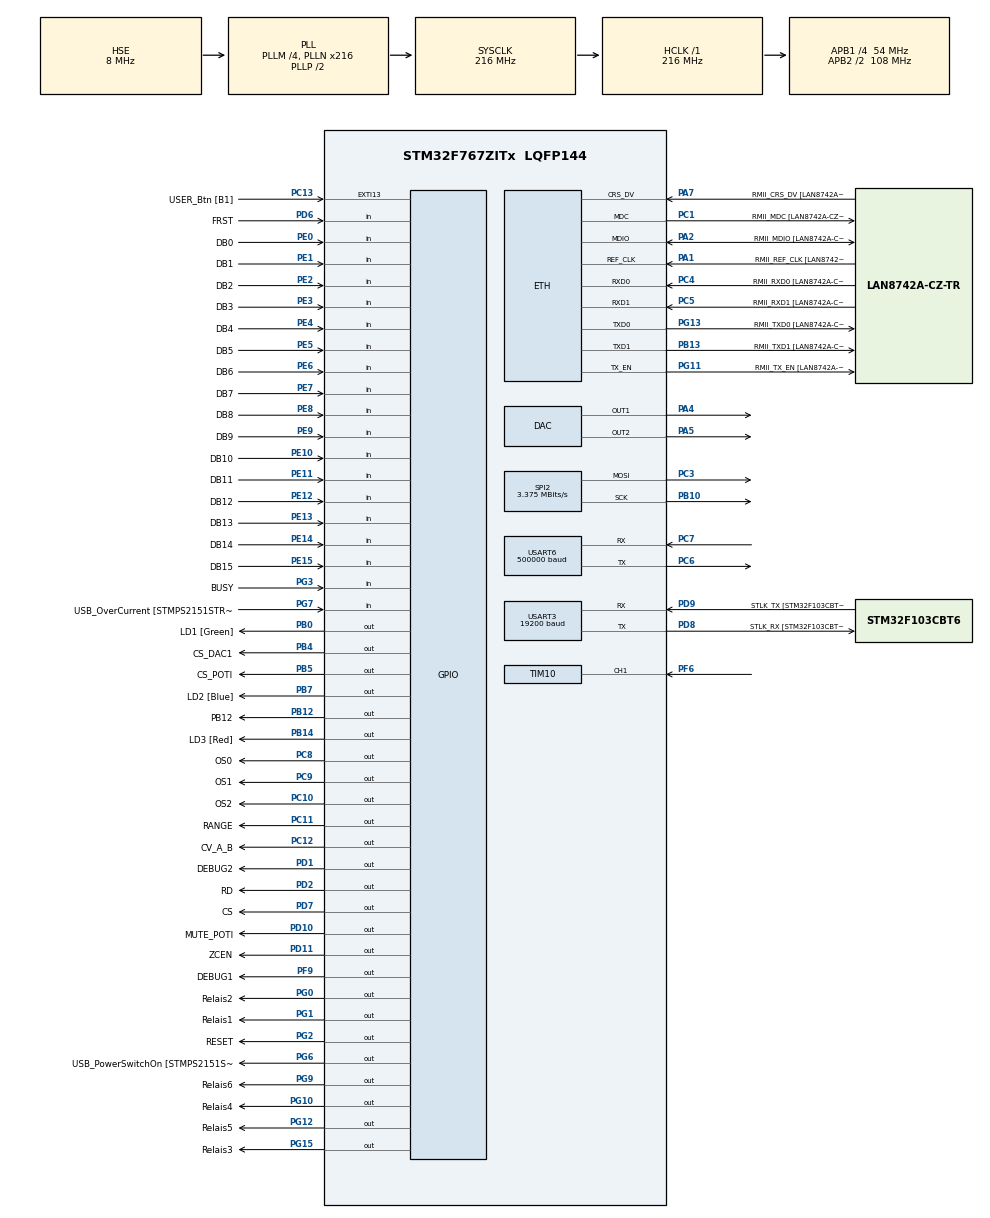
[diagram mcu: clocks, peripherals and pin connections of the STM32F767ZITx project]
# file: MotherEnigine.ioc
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CORTEX_M7.CPU_DCache=Enabled
CORTEX_M7.CPU_ICache=Enabled
Dma.Request0=USART6_RX
Dma.Request1=USART6_TX
Dma.USART6_RX.0.Direction=DMA_PERIPH_TO_MEMORY
Dma.USART6_RX.0.FIFOMode=DMA_FIFOMODE_DISABLE
Dma.USART6_RX.0.Instance=DMA2_Stream1
Dma.USART6_RX.0.MemDataAlignment=DMA_MDATAALIGN_BYTE
Dma.USART6_RX.0.MemInc=DMA_MINC_ENABLE
Dma.USART6_RX.0.Mode=DMA_CIRCULAR
Dma.USART6_RX.0.PeriphDataAlignment=DMA_PDATAALIGN_BYTE
Dma.USART6_RX.0.PeriphInc=DMA_PINC_DISABLE
Dma.USART6_RX.0.Priority=DMA_PRIORITY_LOW
Dma.USART6_TX.1.Direction=DMA_MEMORY_TO_PERIPH
Dma.USART6_TX.1.FIFOMode=DMA_FIFOMODE_DISABLE
Dma.USART6_TX.1.Instance=DMA2_Stream6
Dma.USART6_TX.1.MemDataAlignment=DMA_MDATAALIGN_BYTE
Dma.USART6_TX.1.MemInc=DMA_MINC_ENABLE
Dma.USART6_TX.1.Mode=DMA_CIRCULAR
Dma.USART6_TX.1.PeriphDataAlignment=DMA_PDATAALIGN_BYTE
Dma.USART6_TX.1.PeriphInc=DMA_PINC_DISABLE
Dma.USART6_TX.1.Priority=DMA_PRIORITY_LOW
ETH.MediaInterface=ETH_MEDIA_INTERFACE_RMII
ETH.PHY_Name=LAN8742A_PHY_ADDRESS
ETH.PHY_Value=0
ETH.PhyAddress=0
FREERTOS.Tasks01=defaultTask,0,128,StartDefaultTask,Default,NULL
FREERTOS.configLIBRARY_MAX_SYSCALL_INTERRUPT_PRIORITY=1
FREERTOS.configTOTAL_HEAP_SIZE=35360
LWIP.GATEWAY_ADDRESS=192.168.001.001
LWIP.IP_ADDRESS=192.168.001.205
LWIP.LWIP_DHCP=0
LWIP.LWIP_HTTPD=1
LWIP.MEM_SIZE=5000
LWIP.MEM_USE_POOLS_TRY_BIGGER_POOL=1
LWIP.NETMASK_ADDRESS=255.255.255.000
LWIP.Version=v2.0.3_Cube
Mcu.Family=STM32F7
Mcu.Name=STM32F767ZITx
Mcu.Package=LQFP144
NVIC.DMA2_Stream1_IRQn=true\:5\:0\:true\:false\:true\:true\:false\:true
NVIC.DMA2_Stream6_IRQn=true\:5\:0\:true\:false\:true\:true\:false\:true
NVIC.ETH_IRQn=true\:1\:0\:false\:false\:true\:true\:false\:true
NVIC.PriorityGroup=NVIC_PRIORITYGROUP_4
NVIC.TIM1_UP_TIM10_IRQn=true\:0\:0\:false\:false\:true\:false\:false\:true
NVIC.TIM5_IRQn=true\:5\:0\:true\:false\:true\:true\:true\:true
NVIC.TIM6_DAC_IRQn=true\:5\:0\:true\:false\:true\:true\:true\:true
NVIC.TIM7_IRQn=true\:1\:0\:false\:false\:true\:true\:true\:true
NVIC.TimeBase=TIM1_UP_TIM10_IRQn
NVIC.TimeBaseIP=TIM1
NVIC.USART6_IRQn=true\:1\:0\:false\:false\:true\:true\:true\:true
PA1.GPIO_Label=RMII_REF_CLK [LAN8742A-CZ-TR_REFCLK0]
PA1.Mode=RMII
PA1.Signal=ETH_REF_CLK
PA10.GPIO_Label=USB_ID
PA10.Signal=USB_OTG_FS_ID
PA11.GPIO_Label=USB_DM
PA11.Signal=USB_OTG_FS_DM
PA12.GPIO_Label=USB_DP
PA12.Signal=USB_OTG_FS_DP
PA13.GPIO_Label=TMS
PA13.Mode=Serial_Wire
PA13.Signal=SYS_JTMS-SWDIO
PA14.GPIO_Label=TCK
PA14.Mode=Serial_Wire
PA14.Signal=SYS_JTCK-SWCLK
PA2.GPIO_Label=RMII_MDIO [LAN8742A-CZ-TR_MDIO]
PA2.Mode=RMII
PA2.Signal=ETH_MDIO
PA4.Signal=COMP_DAC1_group
PA5.Signal=COMP_DAC2_group
PA7.GPIO_Label=RMII_CRS_DV [LAN8742A-CZ-TR_CRS_DV]
PA7.Mode=RMII
PA7.Signal=ETH_CRS_DV
PA8.GPIO_Label=USB_SOF [TP1]
PA8.Signal=USB_OTG_FS_SOF
PA9.GPIO_Label=USB_VBUS
PA9.Signal=USB_OTG_FS_VBUS
PB0.GPIO_Label=LD1 [Green]
PB0.Signal=GPIO_Output
PB10.Mode=TX_Only_Simplex_Unidirect_Master
PB10.Signal=SPI2_SCK
PB12.GPIO_Label=PB12
PB12.Signal=GPIO_Output
PB13.GPIO_Label=RMII_TXD1 [LAN8742A-CZ-TR_TXD1]
PB13.Mode=RMII
PB13.Signal=ETH_TXD1
PB14.GPIO_Label=LD3 [Red]
PB14.Signal=GPIO_Output
PB3.GPIO_Label=SWO
PB3.Signal=SYS_JTDO-SWO
PB4.GPIO_Label=CS_DAC1
PB4.Signal=GPIO_Output
PB5.GPIO_Label=CS_POTI
PB5.Signal=GPIO_Output
PB7.GPIO_Label=LD2 [Blue]
PB7.Signal=GPIO_Output
PC1.GPIO_Label=RMII_MDC [LAN8742A-CZ-TR_MDC]
PC1.Mode=RMII
PC1.Signal=ETH_MDC
PC10.GPIO_Label=OS2
PC10.Signal=GPIO_Output
PC11.GPIO_Label=RANGE
PC11.Signal=GPIO_Output
PC12.GPIO_Label=CV_A_B
PC12.Signal=GPIO_Output
PC13.GPIO_Label=USER_Btn [B1]
PC13.Signal=GPXTI13
PC14/OSC32_IN.Mode=LSE-External-Oscillator
PC14/OSC32_IN.Signal=RCC_OSC32_IN
PC15/OSC32_OUT.Mode=LSE-External-Oscillator
PC15/OSC32_OUT.Signal=RCC_OSC32_OUT
PC3.Mode=TX_Only_Simplex_Unidirect_Master
PC3.Signal=SPI2_MOSI
PC4.GPIO_Label=RMII_RXD0 [LAN8742A-CZ-TR_RXD0]
PC4.Mode=RMII
PC4.Signal=ETH_RXD0
PC5.GPIO_Label=RMII_RXD1 [LAN8742A-CZ-TR_RXD1]
PC5.Mode=RMII
PC5.Signal=ETH_RXD1
PC6.Mode=Asynchronous
PC6.Signal=USART6_TX
PC7.Mode=Asynchronous
PC7.Signal=USART6_RX
PC8.GPIO_Label=OS0
PC8.Signal=GPIO_Output
PC9.GPIO_Label=OS1
PC9.Signal=GPIO_Output
PD1.GPIO_Label=DEBUG2
PD1.Signal=GPIO_Output
PD10.GPIO_Label=MUTE_POTI
PD10.Signal=GPIO_Output
PD11.GPIO_Label=ZCEN
PD11.Signal=GPIO_Output
PD2.GPIO_Label=RD
PD2.Signal=GPIO_Output
PD6.GPIO_Label=FRST
PD6.Signal=GPIO_Input
PD7.GPIO_Label=CS
PD7.Signal=GPIO_Output
PD8.GPIO_Label=STLK_RX [STM32F103CBT6_PA3]
PD8.Mode=Asynchronous
PD8.Signal=USART3_TX
PD9.GPIO_Label=STLK_TX [STM32F103CBT6_PA2]
PD9.Mode=Asynchronous
PD9.Signal=USART3_RX
PE0.GPIO_Label=DB0
PE0.Signal=GPIO_Input
PE1.GPIO_Label=DB1
PE1.Signal=GPIO_Input
PE10.GPIO_Label=DB10
PE10.Signal=GPIO_Input
PE11.GPIO_Label=DB11
PE11.Signal=GPIO_Input
PE12.GPIO_Label=DB12
PE12.Signal=GPIO_Input
PE13.GPIO_Label=DB13
PE13.Signal=GPIO_Input
PE14.GPIO_Label=DB14
PE14.Signal=GPIO_Input
PE15.GPIO_Label=DB15
PE15.Signal=GPIO_Input
PE2.GPIO_Label=DB2
PE2.Signal=GPIO_Input
PE3.GPIO_Label=DB3
PE3.Signal=GPIO_Input
PE4.GPIO_Label=DB4
PE4.Signal=GPIO_Input
PE5.GPIO_Label=DB5
PE5.Signal=GPIO_Input
PE6.GPIO_Label=DB6
PE6.Signal=GPIO_Input
PE7.GPIO_Label=DB7
PE7.Signal=GPIO_Input
PE8.GPIO_Label=DB8
PE8.Signal=GPIO_Input
PE9.GPIO_Label=DB9
PE9.Signal=GPIO_Input
PF6.Signal=S_TIM10_CH1
PF9.GPIO_Label=DEBUG1
PF9.Signal=GPIO_Output
PG0.GPIO_Label=Relais2
PG0.Signal=GPIO_Output
PG1.GPIO_Label=Relais1
PG1.Signal=GPIO_Output
PG10.GPIO_Label=Relais4
PG10.Signal=GPIO_Output
PG11.GPIO_Label=RMII_TX_EN [LAN8742A-CZ-TR_TXEN]
PG11.Mode=RMII
PG11.Signal=ETH_TX_EN
PG12.GPIO_Label=Relais5
PG12.Signal=GPIO_Output
PG13.GPIO_Label=RMII_TXD0 [LAN8742A-CZ-TR_TXD0]
PG13.Mode=RMII
PG13.Signal=ETH_TXD0
PG15.GPIO_Label=Relais3
PG15.Signal=GPIO_Output
PG2.GPIO_Label=RESET
PG2.Signal=GPIO_Output
PG3.GPIO_Label=BUSY
PG3.Signal=GPIO_Input
PG6.GPIO_Label=USB_PowerSwitchOn [STMPS2151STR_EN]
PG6.Signal=GPIO_Output
PG7.GPIO_Label=USB_OverCurrent [STMPS2151STR_FAULT]
PG7.Signal=GPIO_Input
PG9.GPIO_Label=Relais6
PG9.Signal=GPIO_Output
PH0/OSC_IN.GPIO_Label=MCO [STM32F103CBT6_PA8]
PH0/OSC_IN.Mode=HSE-External-Oscillator
PH0/OSC_IN.Signal=RCC_OSC_IN
PH1/OSC_OUT.Mode=HSE-External-Oscillator
PH1/OSC_OUT.Signal=RCC_OSC_OUT
ProjectManager.HeapSize=0x200
ProjectManager.StackSize=0x400
ProjectManager.TargetToolchain=STM32CubeIDE
RCC.48MHZClocksFreq_Value=24000000
RCC.AHBFreq_Value=216000000
RCC.APB1CLKDivider=RCC_HCLK_DIV4
RCC.APB1Freq_Value=54000000
RCC.APB1TimFreq_Value=108000000
RCC.APB2CLKDivider=RCC_HCLK_DIV2
RCC.APB2Freq_Value=108000000
RCC.APB2TimFreq_Value=216000000
RCC.CortexFreq_Value=216000000
RCC.HCLKFreq_Value=216000000
RCC.HSE_VALUE=8000000
RCC.HSI_VALUE=16000000
RCC.PLLM=4
RCC.PLLMUL=RCC_PLL_MUL9
RCC.PLLN=216
RCC.PLLQ=9
RCC.PLLSourceVirtual=RCC_PLLSOURCE_HSE
RCC.PRESCALERUSB=RCC_USBCLKSOURCE_PLL_DIV1_5
RCC.SYSCLKFreq_VALUE=216000000
RCC.SYSCLKSource=RCC_SYSCLKSOURCE_PLLCLK
RCC.SYSCLKSourceVirtual=RCC_SYSCLKSOURCE_PLLCLK
RCC.USBFreq_Value=48000000
RCC.VCOOutputFreq_Value=432000000
SH.COMP_DAC1_group.0=DAC_OUT1,DAC_OUT1
SH.COMP_DAC2_group.0=DAC_OUT2,DAC_OUT2
SH.S_TIM10_CH1.0=TIM10_CH1,Input_Capture1_from_TI1
SPI2.BaudRatePrescaler=SPI_BAUDRATEPRESCALER_16
SPI2.CLKPhase=SPI_PHASE_2EDGE
SPI2.CalculateBaudRate=3.375 MBits/s
SPI2.DataSize=SPI_DATASIZE_8BIT
SPI2.Direction=SPI_DIRECTION_2LINES
SPI2.Mode=SPI_MODE_MASTER
SPI2.VirtualType=VM_MASTER
TIM10.Channel=TIM_CHANNEL_1
TIM10.ICPolarity_CH1=TIM_INPUTCHANNELPOLARITY_FALLING
TIM10.Prescaler=107
TIM5.Period=1000
TIM5.Prescaler=216
TIM5.TIM_MasterOutputTrigger=TIM_TRGO_UPDATE
TIM6.Period=65535
TIM6.Prescaler=107
TIM7.Period=19
TIM7.Prescaler=107
USART3.BaudRate=19200
USART3.VirtualMode-Asynchronous=VM_ASYNC
USART6.BaudRate=500000
USART6.VirtualMode-Asynchronous=VM_ASYNC
VP_FREERTOS_VS_CMSIS_V1.Mode=CMSIS_V1
VP_LWIP_VS_Enabled.Mode=Enabled
VP_SYS_VS_tim1.Mode=TIM1
VP_TIM10_VS_ClockSourceINT.Mode=Enable_Timer
VP_TIM5_VS_ClockSourceINT.Mode=Internal
VP_TIM6_VS_ClockSourceINT.Mode=Enable_Timer
VP_TIM7_VS_ClockSourceINT.Mode=Enable_Timer
board=NUCLEO-F767ZI

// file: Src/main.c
/* USER CODE BEGIN Header */
/**
  ******************************************************************************
  * @file           : main.c
  * @brief          : Main program body
  ******************************************************************************
  * @attention
  *
  * <h2><center>&copy; Copyright (c) 2019 STMicroelectronics.
  * All rights reserved.</center></h2>
  *
  * This software component is licensed by ST under Ultimate Liberty license
  * SLA0044, the "License"; You may not use this file except in compliance with
  * the License. You may obtain a copy of the License at:
  *                             www.st.com/SLA0044
  *
  ******************************************************************************
  */
/* USER CODE END Header */

#include "main.h"
#include "cmsis_os.h"
#include "lwip.h"
#include "stdio.h"
/* USER CODE BEGIN Includes */
#include "UART_correction.h"
#include "dspTask.h"
#include "lwIPTask.h"
#include "MY_FLASH.h"
#include "DAC_Control.h"
#include "ValueTableMotherEngine.h"
#include "ParameterTableMotherEngine.h"
#include "MessageHandler.h"
/* USER CODE END Includes */

/* USER CODE BEGIN PD */

//************************************
//===============PinOut===============
//************************************
//===============UART6================
//		USART6_RX   -------->PC6--(v)
//		USART6_TX   -------->PC7--(v)
//************************************
//================DAC=================
//		DAC_OUT1	-------->PA4--(v)
//		DAC_OUT2	-------->PA5--(v)
//************************************
//================ADC1================
//		ADC1-IN0	-------->PA0--(v)
//		ADC1-IN3	-------->PA3--(v)
//		ADC1-IN6	-------->PA6--(v)
//************************************
//================ADC2================
//		ADC2-IN9	-------->PB1--(v)
//		ADC2-IN10	-------->PC0--(v)
//		ADC2-IN12	-------->PC2--(v)
//************************************
//================ADC3================
//		ADC3-IN13	-------->PC3--(v)
//		ADC3-IN14	-------->PF4--(v)
//		ADC3-IN15	-------->PF5--(v)
//************************************
//================Relais==============
//		Relais1		-------->PG1--(v)
//		Relais2		-------->PG0--(v)
//		Relais3		-------->PG15-(v)
//		Relais4		-------->PG10-(v)
//		Relais5		-------->PG12-(v)
//		Relais6		-------->PG9--(v)
//************************************

/* USER CODE END PD */

DAC_HandleTypeDef hdac;

SPI_HandleTypeDef hspi2;

TIM_HandleTypeDef htim5;
TIM_HandleTypeDef htim6;
TIM_HandleTypeDef htim7;
TIM_HandleTypeDef htim10;

UART_HandleTypeDef huart3;
UART_HandleTypeDef huart6;
DMA_HandleTypeDef hdma_usart6_rx;
DMA_HandleTypeDef hdma_usart6_tx;

osThreadId defaultTaskHandle;
/* USER CODE BEGIN PV */
osThreadId dspTaskHandle;
osThreadId lwIPTaskHandle;
/* USER CODE END PV */

void SystemClock_Config(void);
static void MX_GPIO_Init(void);
static void MX_DAC_Init(void);
static void MX_USART3_UART_Init(void);
static void MX_USART6_UART_Init(void);
static void MX_DMA_Init(void);
static void MX_TIM5_Init(void);
static void MX_SPI2_Init(void);
static void MX_TIM6_Init(void);
static void MX_TIM7_Init(void);
static void MX_TIM10_Init(void);
void StartDefaultTask(void const * argument);

/* USER CODE BEGIN PFP */

static void VectorBase_Config(void);

/* USER CODE END PFP */

int main(void)

 {
  /* USER CODE BEGIN 1 */
	VectorBase_Config();
  /* USER CODE END 1 */

  /* Enable I-Cache---------------------------------------------------------*/
  SCB_EnableICache();

  /* Enable D-Cache---------------------------------------------------------*/
  SCB_EnableDCache();

  /* MCU Configuration--------------------------------------------------------*/

  /* Reset of all peripherals, Initializes the Flash interface and the Systick. */
  HAL_Init();

  /* USER CODE BEGIN Init */
  //JUST agit test from CubeIDE
  /* USER CODE END Init */

  /* Configure the system clock */
  SystemClock_Config();

  /* Initialize all configured peripherals */
  MX_GPIO_Init();
  MX_DMA_Init();
  MX_DAC_Init();
  MX_USART3_UART_Init();
  MX_USART6_UART_Init();

  MX_TIM5_Init();
  MX_SPI2_Init();
  MX_TIM6_Init();
  MX_TIM7_Init();
  MX_TIM10_Init();
  /* USER CODE BEGIN 2 */
  HAL_DAC_Start(&hdac, DAC_CHANNEL_1);
  HAL_DAC_Start(&hdac, DAC_CHANNEL_2);
  HAL_UART_Transmit_DMA(&huart6, UART_TRANSFER,TX_OUT_SIZE);
  HAL_UART_Receive_DMA(&huart6, UART_RECIVE,RX_IN_SIZE);
  SharedParamsWriteByIndex(0, 0);
  MY_FLASH_SetSectorAddrs(11, 0x081C0000);
  //###### PUT the RESET to Output so Display can be reseted by its own again###
  /*
  GPIO_InitTypeDef GPIO_InitStruct = {0};
  GPIO_InitStruct.Pin = DEBUG2_Pin;
  GPIO_InitStruct.Mode = GPIO_MODE_INPUT;
  GPIO_InitStruct.Pull = GPIO_NOPULL;
  GPIO_InitStruct.Speed = GPIO_SPEED_FREQ_LOW;
  HAL_GPIO_Init(GPIOD, &GPIO_InitStruct);
  */
  //############################################################################
  indexer = 0;
  samples = 512;
  resetMax=0;

/*

	  DAC_Control(1,1,26); //SYM1 adjust
	  DAC_Control(2,1,148); //SYM2 adjust
	  DAC_Control(3,1,90); //SYM3 adjust
	  DAC_Control(4,1,91); //SYM4 adjust

	  DAC_Control(1,2,50);
	  DAC_Control(2,2,50);
	  DAC_Control(3,2,128);
	  DAC_Control(4,2,128);
*/

  	  InitMeassageHandler();

  	  MY_FLASH_ReadN(0,MAC_ADRESSE,10,DATA_TYPE_8);

  	  uint8_t IP[10];
	  IP[0]=192;
	  IP[1]=168;
	  IP[2]=1;
	  IP[3]=75;
  	  IP[4] = 0x80;
  	  IP[5] = 0x80;
  	  IP[6] = 0xE1;
  	  IP[7] = 0x00;
  	  IP[8] = 0x00;
  	  IP[9] = 0x80;

	  //MY_FLASH_WriteN(0,IP,10,DATA_TYPE_8);

	  SUBNET_READ_FLASH[0]=255;
	  SUBNET_READ_FLASH[1]=255;
	  SUBNET_READ_FLASH[2]=255;
	  SUBNET_READ_FLASH[3]=0;

	  channel = 2;
	  indexing = 0;

	  DisplayReset = 0;
	  DisplayUpdate = 0;

  /* USER CODE END 2 */

printf("TEST");
  /* Create the thread(s) */
  /* definition and creation of defaultTask */
  //osThreadDef(defaultTask, StartDefaultTask, osPriorityNormal, 0, 128);
  //defaultTaskHandle = osThreadCreate(osThread(defaultTask), NULL);

  /* USER CODE BEGIN RTOS_THREADS */
  osThreadDef(lwIPTask, lwIPTask, osPriorityNormal, 0,5000);
  lwIPTaskHandle = osThreadCreate(osThread(lwIPTask), NULL);

	//HAL_TIM_Base_Start_IT(&htim7);
  osThreadDef(dspTask, dspTask, osPriorityRealtime , 0, 2000);
  dspTaskHandle = osThreadCreate(osThread(dspTask), NULL);

  /* add threads, ... */
  /* USER CODE END RTOS_THREADS */

  /* Start scheduler */
  osKernelStart();

  /* We should never get here as control is now taken by the scheduler */

  /* Infinite loop */
  while (1)
  {

  }
}

void SystemClock_Config(void)
{
  RCC_OscInitTypeDef RCC_OscInitStruct = {0};
  RCC_ClkInitTypeDef RCC_ClkInitStruct = {0};
  RCC_PeriphCLKInitTypeDef PeriphClkInitStruct = {0};

  /** Configure LSE Drive Capability
  */
  HAL_PWR_EnableBkUpAccess();
  /** Configure the main internal regulator output voltage
  */
  __HAL_RCC_PWR_CLK_ENABLE();
  __HAL_PWR_VOLTAGESCALING_CONFIG(PWR_REGULATOR_VOLTAGE_SCALE1);
  /** Initializes the CPU, AHB and APB busses clocks
  */
  RCC_OscInitStruct.OscillatorType = RCC_OSCILLATORTYPE_HSE;
  RCC_OscInitStruct.HSEState = RCC_HSE_ON;
  RCC_OscInitStruct.PLL.PLLState = RCC_PLL_ON;
  RCC_OscInitStruct.PLL.PLLSource = RCC_PLLSOURCE_HSE;
  RCC_OscInitStruct.PLL.PLLM = 4;
  RCC_OscInitStruct.PLL.PLLN = 216;
  RCC_OscInitStruct.PLL.PLLP = RCC_PLLP_DIV2;
  RCC_OscInitStruct.PLL.PLLQ = 9;
  if (HAL_RCC_OscConfig(&RCC_OscInitStruct) != HAL_OK)
  {
    Error_Handler();
  }
  /** Activate the Over-Drive mode
  */
  if (HAL_PWREx_EnableOverDrive() != HAL_OK)
  {
    Error_Handler();
  }
  /** Initializes the CPU, AHB and APB busses clocks
  */
  RCC_ClkInitStruct.ClockType = RCC_CLOCKTYPE_HCLK|RCC_CLOCKTYPE_SYSCLK
                              |RCC_CLOCKTYPE_PCLK1|RCC_CLOCKTYPE_PCLK2;
  RCC_ClkInitStruct.SYSCLKSource = RCC_SYSCLKSOURCE_PLLCLK;
  RCC_ClkInitStruct.AHBCLKDivider = RCC_SYSCLK_DIV1;
  RCC_ClkInitStruct.APB1CLKDivider = RCC_HCLK_DIV4;
  RCC_ClkInitStruct.APB2CLKDivider = RCC_HCLK_DIV2;

  if (HAL_RCC_ClockConfig(&RCC_ClkInitStruct, FLASH_LATENCY_7) != HAL_OK)
  {
    Error_Handler();
  }
  PeriphClkInitStruct.PeriphClockSelection = RCC_PERIPHCLK_USART3|RCC_PERIPHCLK_USART6;
  PeriphClkInitStruct.Usart3ClockSelection = RCC_USART3CLKSOURCE_PCLK1;
  PeriphClkInitStruct.Usart6ClockSelection = RCC_USART6CLKSOURCE_PCLK2;
  if (HAL_RCCEx_PeriphCLKConfig(&PeriphClkInitStruct) != HAL_OK)
  {
    Error_Handler();
  }
}

static void MX_DAC_Init(void)
{

  DAC_ChannelConfTypeDef sConfig = {0};

  /** DAC Initialization
  */
  hdac.Instance = DAC;
  if (HAL_DAC_Init(&hdac) != HAL_OK)
  {
    Error_Handler();
  }
  /** DAC channel OUT1 config
  */
  sConfig.DAC_Trigger = DAC_TRIGGER_NONE;
  sConfig.DAC_OutputBuffer = DAC_OUTPUTBUFFER_ENABLE;
  if (HAL_DAC_ConfigChannel(&hdac, &sConfig, DAC_CHANNEL_1) != HAL_OK)
  {
    Error_Handler();
  }
  /** DAC channel OUT2 config
  */
  if (HAL_DAC_ConfigChannel(&hdac, &sConfig, DAC_CHANNEL_2) != HAL_OK)
  {
    Error_Handler();
  }

}

static void MX_SPI2_Init(void)
{

  /* SPI2 parameter configuration*/
  hspi2.Instance = SPI2;
  hspi2.Init.Mode = SPI_MODE_MASTER;
  hspi2.Init.Direction = SPI_DIRECTION_2LINES;
  hspi2.Init.DataSize = SPI_DATASIZE_8BIT;
  hspi2.Init.CLKPolarity = SPI_POLARITY_LOW;
  hspi2.Init.CLKPhase = SPI_PHASE_2EDGE;
  hspi2.Init.NSS = SPI_NSS_SOFT;
  hspi2.Init.BaudRatePrescaler = SPI_BAUDRATEPRESCALER_16;
  hspi2.Init.FirstBit = SPI_FIRSTBIT_MSB;
  hspi2.Init.TIMode = SPI_TIMODE_DISABLE;
  hspi2.Init.CRCCalculation = SPI_CRCCALCULATION_DISABLE;
  hspi2.Init.CRCPolynomial = 7;
  hspi2.Init.CRCLength = SPI_CRC_LENGTH_DATASIZE;
  hspi2.Init.NSSPMode = SPI_NSS_PULSE_DISABLE;
  if (HAL_SPI_Init(&hspi2) != HAL_OK)
  {
    Error_Handler();
  }

}

static void MX_TIM5_Init(void)
{

  TIM_ClockConfigTypeDef sClockSourceConfig = {0};
  TIM_MasterConfigTypeDef sMasterConfig = {0};

  htim5.Instance = TIM5;
  htim5.Init.Prescaler = 216;
  htim5.Init.CounterMode = TIM_COUNTERMODE_UP;
  htim5.Init.Period = 1000;
  htim5.Init.ClockDivision = TIM_CLOCKDIVISION_DIV1;
  htim5.Init.AutoReloadPreload = TIM_AUTORELOAD_PRELOAD_DISABLE;
  if (HAL_TIM_Base_Init(&htim5) != HAL_OK)
  {
    Error_Handler();
  }
  sClockSourceConfig.ClockSource = TIM_CLOCKSOURCE_INTERNAL;
  if (HAL_TIM_ConfigClockSource(&htim5, &sClockSourceConfig) != HAL_OK)
  {
    Error_Handler();
  }
  sMasterConfig.MasterOutputTrigger = TIM_TRGO_UPDATE;
  sMasterConfig.MasterSlaveMode = TIM_MASTERSLAVEMODE_DISABLE;
  if (HAL_TIMEx_MasterConfigSynchronization(&htim5, &sMasterConfig) != HAL_OK)
  {
    Error_Handler();
  }

}

static void MX_TIM6_Init(void)
{

  TIM_MasterConfigTypeDef sMasterConfig = {0};

  htim6.Instance = TIM6;
  htim6.Init.Prescaler = 107;
  htim6.Init.CounterMode = TIM_COUNTERMODE_UP;
  htim6.Init.Period = 65535;
  htim6.Init.AutoReloadPreload = TIM_AUTORELOAD_PRELOAD_DISABLE;
  if (HAL_TIM_Base_Init(&htim6) != HAL_OK)
  {
    Error_Handler();
  }
  sMasterConfig.MasterOutputTrigger = TIM_TRGO_RESET;
  sMasterConfig.MasterSlaveMode = TIM_MASTERSLAVEMODE_DISABLE;
  if (HAL_TIMEx_MasterConfigSynchronization(&htim6, &sMasterConfig) != HAL_OK)
  {
    Error_Handler();
  }

}

static void MX_TIM7_Init(void)
{

  TIM_MasterConfigTypeDef sMasterConfig = {0};

  htim7.Instance = TIM7;
  htim7.Init.Prescaler = 107;
  htim7.Init.CounterMode = TIM_COUNTERMODE_UP;
  htim7.Init.Period = 19;
  htim7.Init.AutoReloadPreload = TIM_AUTORELOAD_PRELOAD_DISABLE;
  if (HAL_TIM_Base_Init(&htim7) != HAL_OK)
  {
    Error_Handler();
  }
  sMasterConfig.MasterOutputTrigger = TIM_TRGO_RESET;
  sMasterConfig.MasterSlaveMode = TIM_MASTERSLAVEMODE_DISABLE;
  if (HAL_TIMEx_MasterConfigSynchronization(&htim7, &sMasterConfig) != HAL_OK)
  {
    Error_Handler();
  }

}

static void MX_TIM10_Init(void)
{

  TIM_IC_InitTypeDef sConfigIC = {0};

  htim10.Instance = TIM10;
  htim10.Init.Prescaler = 107;
  htim10.Init.CounterMode = TIM_COUNTERMODE_UP;
  htim10.Init.Period = 0;
  htim10.Init.ClockDivision = TIM_CLOCKDIVISION_DIV1;
  htim10.Init.AutoReloadPreload = TIM_AUTORELOAD_PRELOAD_DISABLE;
  if (HAL_TIM_Base_Init(&htim10) != HAL_OK)
  {
    Error_Handler();
  }
  if (HAL_TIM_IC_Init(&htim10) != HAL_OK)
  {
    Error_Handler();
  }
  sConfigIC.ICPolarity = TIM_INPUTCHANNELPOLARITY_FALLING;
  sConfigIC.ICSelection = TIM_ICSELECTION_DIRECTTI;
  sConfigIC.ICPrescaler = TIM_ICPSC_DIV1;
  sConfigIC.ICFilter = 0;
  if (HAL_TIM_IC_ConfigChannel(&htim10, &sConfigIC, TIM_CHANNEL_1) != HAL_OK)
  {
    Error_Handler();
  }

}

static void MX_USART3_UART_Init(void)
{

  huart3.Instance = USART3;
  huart3.Init.BaudRate = 19200;
  huart3.Init.WordLength = UART_WORDLENGTH_8B;
  huart3.Init.StopBits = UART_STOPBITS_1;
  huart3.Init.Parity = UART_PARITY_NONE;
  huart3.Init.Mode = UART_MODE_TX_RX;
  huart3.Init.HwFlowCtl = UART_HWCONTROL_NONE;
  huart3.Init.OverSampling = UART_OVERSAMPLING_16;
  huart3.Init.OneBitSampling = UART_ONE_BIT_SAMPLE_DISABLE;
  huart3.AdvancedInit.AdvFeatureInit = UART_ADVFEATURE_NO_INIT;
  if (HAL_UART_Init(&huart3) != HAL_OK)
  {
    Error_Handler();
  }

}

static void MX_USART6_UART_Init(void)
{

  huart6.Instance = USART6;
  huart6.Init.BaudRate = 500000;
  huart6.Init.WordLength = UART_WORDLENGTH_8B;
  huart6.Init.StopBits = UART_STOPBITS_1;
  huart6.Init.Parity = UART_PARITY_NONE;
  huart6.Init.Mode = UART_MODE_TX_RX;
  huart6.Init.HwFlowCtl = UART_HWCONTROL_NONE;
  huart6.Init.OverSampling = UART_OVERSAMPLING_16;
  huart6.Init.OneBitSampling = UART_ONE_BIT_SAMPLE_DISABLE;
  huart6.AdvancedInit.AdvFeatureInit = UART_ADVFEATURE_NO_INIT;
  if (HAL_UART_Init(&huart6) != HAL_OK)
  {
    Error_Handler();
  }

}

static void MX_DMA_Init(void)
{

  /* DMA controller clock enable */
  __HAL_RCC_DMA2_CLK_ENABLE();

  /* DMA interrupt init */
  /* DMA2_Stream1_IRQn interrupt configuration */
  HAL_NVIC_SetPriority(DMA2_Stream1_IRQn, 5, 0);
  HAL_NVIC_EnableIRQ(DMA2_Stream1_IRQn);
  /* DMA2_Stream6_IRQn interrupt configuration */
  HAL_NVIC_SetPriority(DMA2_Stream6_IRQn, 5, 0);
  HAL_NVIC_EnableIRQ(DMA2_Stream6_IRQn);

}

static void MX_GPIO_Init(void)
{
  GPIO_InitTypeDef GPIO_InitStruct = {0};

  /* GPIO Ports Clock Enable */
  __HAL_RCC_GPIOE_CLK_ENABLE();
  __HAL_RCC_GPIOC_CLK_ENABLE();
  __HAL_RCC_GPIOF_CLK_ENABLE();
  __HAL_RCC_GPIOH_CLK_ENABLE();
  __HAL_RCC_GPIOA_CLK_ENABLE();
  __HAL_RCC_GPIOB_CLK_ENABLE();
  __HAL_RCC_GPIOG_CLK_ENABLE();
  __HAL_RCC_GPIOD_CLK_ENABLE();

  /*Configure GPIO pin Output Level */
  HAL_GPIO_WritePin(DEBUG1_GPIO_Port, DEBUG1_Pin, GPIO_PIN_RESET);

  /*Configure GPIO pin Output Level */
  HAL_GPIO_WritePin(GPIOB, LD1_Pin|PB12_Pin|LD3_Pin|CS_DAC1_Pin
                          |CS_POTI_Pin|LD2_Pin, GPIO_PIN_RESET);

  /*Configure GPIO pin Output Level */
  HAL_GPIO_WritePin(GPIOG, Relais2_Pin|Relais1_Pin|RESET_Pin|USB_PowerSwitchOn_Pin
                          |Relais6_Pin|Relais4_Pin|Relais5_Pin|Relais3_Pin, GPIO_PIN_RESET);

  /*Configure GPIO pin Output Level */
  HAL_GPIO_WritePin(GPIOD, MUTE_POTI_Pin|ZCEN_Pin|DEBUG2_Pin|RD_Pin
                          |CS_Pin, GPIO_PIN_RESET);

  /*Configure GPIO pin Output Level */
  HAL_GPIO_WritePin(GPIOC, OS0_Pin|OS1_Pin|OS2_Pin|RANGE_Pin
                          |CV_A_B_Pin, GPIO_PIN_RESET);

  /*Configure GPIO pins : DB2_Pin DB3_Pin DB4_Pin DB5_Pin
                           DB6_Pin DB7_Pin DB8_Pin DB9_Pin
                           DB10_Pin DB11_Pin DB12_Pin DB13_Pin
                           DB14_Pin DB15_Pin DB0_Pin DB1_Pin */
  GPIO_InitStruct.Pin = DB2_Pin|DB3_Pin|DB4_Pin|DB5_Pin
                          |DB6_Pin|DB7_Pin|DB8_Pin|DB9_Pin
                          |DB10_Pin|DB11_Pin|DB12_Pin|DB13_Pin
                          |DB14_Pin|DB15_Pin|DB0_Pin|DB1_Pin;
  GPIO_InitStruct.Mode = GPIO_MODE_INPUT;
  GPIO_InitStruct.Pull = GPIO_NOPULL;
  HAL_GPIO_Init(GPIOE, &GPIO_InitStruct);

  /*Configure GPIO pin : USER_Btn_Pin */
  GPIO_InitStruct.Pin = USER_Btn_Pin;
  GPIO_InitStruct.Mode = GPIO_MODE_IT_RISING;
  GPIO_InitStruct.Pull = GPIO_NOPULL;
  HAL_GPIO_Init(USER_Btn_GPIO_Port, &GPIO_InitStruct);

  /*Configure GPIO pin : DEBUG1_Pin */
  GPIO_InitStruct.Pin = DEBUG1_Pin;
  GPIO_InitStruct.Mode = GPIO_MODE_OUTPUT_PP;
  GPIO_InitStruct.Pull = GPIO_NOPULL;
  GPIO_InitStruct.Speed = GPIO_SPEED_FREQ_LOW;
  HAL_GPIO_Init(DEBUG1_GPIO_Port, &GPIO_InitStruct);

  /*Configure GPIO pins : LD1_Pin PB12_Pin LD3_Pin CS_DAC1_Pin
                           CS_POTI_Pin LD2_Pin */
  GPIO_InitStruct.Pin = LD1_Pin|PB12_Pin|LD3_Pin|CS_DAC1_Pin
                          |CS_POTI_Pin|LD2_Pin;
  GPIO_InitStruct.Mode = GPIO_MODE_OUTPUT_PP;
  GPIO_InitStruct.Pull = GPIO_NOPULL;
  GPIO_InitStruct.Speed = GPIO_SPEED_FREQ_LOW;
  HAL_GPIO_Init(GPIOB, &GPIO_InitStruct);

  /*Configure GPIO pins : Relais2_Pin Relais1_Pin RESET_Pin USB_PowerSwitchOn_Pin
                           Relais6_Pin Relais4_Pin Relais5_Pin Relais3_Pin */
  GPIO_InitStruct.Pin = Relais2_Pin|Relais1_Pin|RESET_Pin|USB_PowerSwitchOn_Pin
                          |Relais6_Pin|Relais4_Pin|Relais5_Pin|Relais3_Pin;
  GPIO_InitStruct.Mode = GPIO_MODE_OUTPUT_PP;
  GPIO_InitStruct.Pull = GPIO_NOPULL;
  GPIO_InitStruct.Speed = GPIO_SPEED_FREQ_LOW;
  HAL_GPIO_Init(GPIOG, &GPIO_InitStruct);

  /*Configure GPIO pins : MUTE_POTI_Pin ZCEN_Pin DEBUG2_Pin RD_Pin
                           CS_Pin */
  GPIO_InitStruct.Pin = MUTE_POTI_Pin|ZCEN_Pin|DEBUG2_Pin|RD_Pin
                          |CS_Pin;
  GPIO_InitStruct.Mode = GPIO_MODE_OUTPUT_PP;
  GPIO_InitStruct.Pull = GPIO_NOPULL;
  GPIO_InitStruct.Speed = GPIO_SPEED_FREQ_LOW;
  HAL_GPIO_Init(GPIOD, &GPIO_InitStruct);

  /*Configure GPIO pins : BUSY_Pin USB_OverCurrent_Pin */
  GPIO_InitStruct.Pin = BUSY_Pin|USB_OverCurrent_Pin;
  GPIO_InitStruct.Mode = GPIO_MODE_INPUT;
  GPIO_InitStruct.Pull = GPIO_NOPULL;
  HAL_GPIO_Init(GPIOG, &GPIO_InitStruct);

  /*Configure GPIO pins : OS0_Pin OS1_Pin OS2_Pin RANGE_Pin
                           CV_A_B_Pin */
  GPIO_InitStruct.Pin = OS0_Pin|OS1_Pin|OS2_Pin|RANGE_Pin
                          |CV_A_B_Pin;
  GPIO_InitStruct.Mode = GPIO_MODE_OUTPUT_PP;
  GPIO_InitStruct.Pull = GPIO_NOPULL;
  GPIO_InitStruct.Speed = GPIO_SPEED_FREQ_LOW;
  HAL_GPIO_Init(GPIOC, &GPIO_InitStruct);

  /*Configure GPIO pins : USB_SOF_Pin USB_ID_Pin USB_DM_Pin USB_DP_Pin */
  GPIO_InitStruct.Pin = USB_SOF_Pin|USB_ID_Pin|USB_DM_Pin|USB_DP_Pin;
  GPIO_InitStruct.Mode = GPIO_MODE_AF_PP;
  GPIO_InitStruct.Pull = GPIO_NOPULL;
  GPIO_InitStruct.Speed = GPIO_SPEED_FREQ_VERY_HIGH;
  GPIO_InitStruct.Alternate = GPIO_AF10_OTG_FS;
  HAL_GPIO_Init(GPIOA, &GPIO_InitStruct);

  /*Configure GPIO pin : USB_VBUS_Pin */
  GPIO_InitStruct.Pin = USB_VBUS_Pin;
  GPIO_InitStruct.Mode = GPIO_MODE_INPUT;
  GPIO_InitStruct.Pull = GPIO_NOPULL;
  HAL_GPIO_Init(USB_VBUS_GPIO_Port, &GPIO_InitStruct);

  /*Configure GPIO pin : FRST_Pin */
  GPIO_InitStruct.Pin = FRST_Pin;
  GPIO_InitStruct.Mode = GPIO_MODE_INPUT;
  GPIO_InitStruct.Pull = GPIO_NOPULL;
  HAL_GPIO_Init(FRST_GPIO_Port, &GPIO_InitStruct);

}

/* USER CODE BEGIN 4 */
static void VectorBase_Config(void)
{
  /* The constant array with vectors of the vector table is declared externally in the
   * c-startup code.
   */
  extern const unsigned long g_pfnVectors[];

  /* Remap the vector table to where the vector table is located for this program. */
  SCB->VTOR = (unsigned long)&g_pfnVectors[0];
}

void HAL_UART_RxCpltCallback(UART_HandleTypeDef *huart)
{
	if(DisplayUpdate == 0){
		UART_correction(); //Recive Data from UART --> UARTDATA
		popFromMessageQueue();
		getMessageToReciveStack();
		HAL_UART_DMAResume(&huart6);
	}
}

/* USER CODE END 4 */

void StartDefaultTask(void const * argument)
{
  /* init code for LWIP */
  //MX_LWIP_Init();
  /* USER CODE BEGIN 5 */
	HAL_Delay(2000);

  /* Infinite loop */
  for(;;)
  {

    osDelay(1000);
  }
  /* USER CODE END 5 */
}

void HAL_TIM_PeriodElapsedCallback(TIM_HandleTypeDef *htim)
{
  if (htim->Instance == TIM1) {
    HAL_IncTick();
  }
}

void Error_Handler(void)
{
}

/************************ (C) COPYRIGHT STMicroelectronics *****END OF FILE****/
